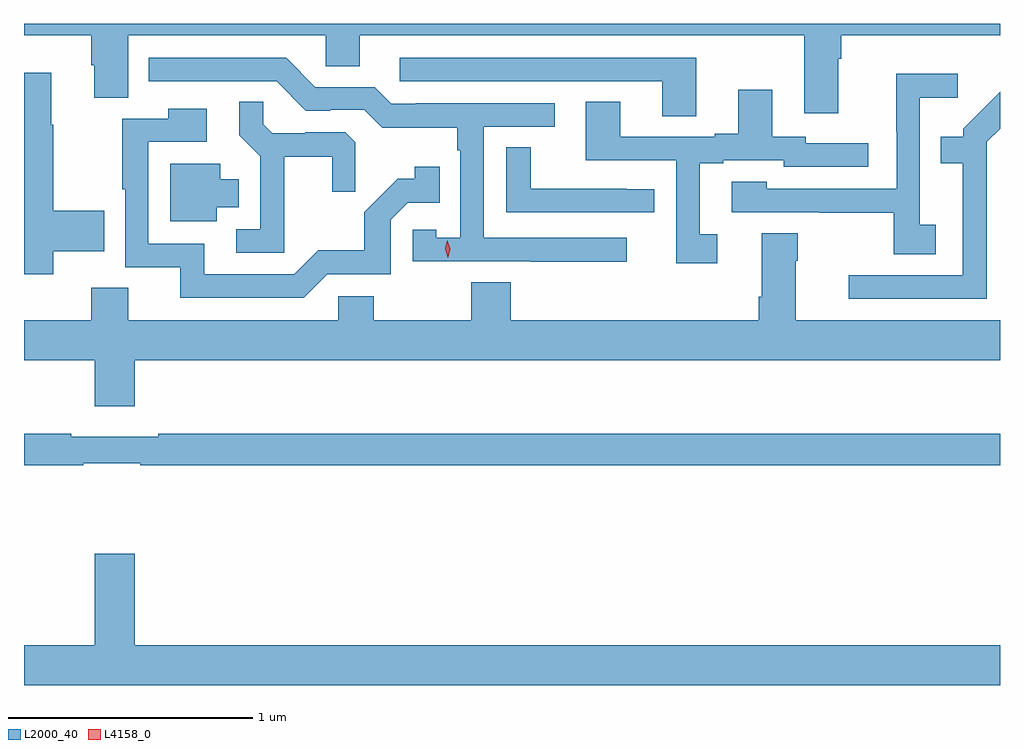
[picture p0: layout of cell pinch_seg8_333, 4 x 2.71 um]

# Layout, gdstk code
import gdstk
lib = gdstk.Library(unit=1e-6, precision=1e-09)
def P(c, l, *ps):  # polygons
    for p in ps: c.add(gdstk.Polygon(p, *l))
L2000_40 = (2000, 40)
L4158_0 = (4158, 0)

pinch_seg8_333 = lib.new_cell('pinch_seg8_333')
P(pinch_seg8_333, L2000_40, [(383.839,1164.356),(383.852,1164.356),(383.852,1164.452),(384.502,1164.452),(384.502,1164.5),(380.502,1164.5),(380.502,1164.452),(380.777,1164.452),(380.777,1164.33),(380.789,1164.33),(380.789,1164.196),(380.929,1164.196),(380.929,1164.452),(381.738,1164.452),(381.738,1164.325),(381.877,1164.325),(381.877,1164.452),(383.699,1164.452),(383.699,1164.132),(383.839,1164.132)],
  [(382.972,1163.622),(382.386,1163.622),(382.386,1164.078),(382.678,1164.078),(382.678,1164.174),(382.108,1164.174),(382.108,1164.171),(382.008,1164.171),(381.939,1164.24),(381.696,1164.24),(381.576,1164.36),(381.014,1164.36),(381.014,1164.264),(381.537,1164.264),(381.657,1164.144),(381.758,1164.144),(381.758,1164.147),(381.897,1164.147),(381.97,1164.074),(382.278,1164.074),(382.278,1163.981),(382.29,1163.981),(382.29,1163.623),(382.191,1163.623),(382.191,1163.655),(382.095,1163.655),(382.095,1163.526),(382.579,1163.526),(382.579,1163.524),(382.972,1163.524)],
  [(383.257,1164.36),(382.041,1164.36),(382.041,1164.264),(383.117,1164.264),(383.117,1164.121),(383.257,1164.121)],
  [(380.622,1163.567),(380.831,1163.567),(380.831,1163.733),(380.622,1163.733),(380.622,1164.085),(380.614,1164.085),(380.614,1164.298),(380.502,1164.298),(380.502,1163.472),(380.622,1163.472)],
  [(384.238,1163.676),(384.174,1163.676),(384.174,1164.197),(384.328,1164.197),(384.328,1164.295),(384.076,1164.295),(384.076,1164.056),(384.078,1164.056),(384.078,1163.823),(383.547,1163.823),(383.547,1163.851),(383.403,1163.851),(383.403,1163.727),(383.761,1163.727),(383.761,1163.725),(384.066,1163.725),(384.066,1163.554),(384.238,1163.554)],
  [(383.344,1163.637),(383.272,1163.637),(383.272,1163.928),(383.368,1163.928),(383.368,1163.94),(383.616,1163.94),(383.616,1163.913),(383.962,1163.913),(383.962,1164.009),(383.706,1164.009),(383.706,1164.036),(383.569,1164.036),(383.569,1164.229),(383.429,1164.229),(383.429,1164.049),(383.333,1164.049),(383.333,1164.036),(382.945,1164.036),(382.945,1164.179),(382.805,1164.179),(382.805,1163.94),(383.175,1163.94),(383.175,1163.517),(383.344,1163.517)],
  [(384.447,1164.015),(384.502,1164.07),(384.502,1164.22),(384.351,1164.069),(384.351,1164.037),(384.259,1164.037),(384.259,1163.928),(384.35,1163.928),(384.35,1163.469),(383.883,1163.469),(383.883,1163.373),(384.447,1163.373)],
  [(381.569,1163.954),(381.766,1163.954),(381.766,1163.811),(381.86,1163.811),(381.86,1164.013),(381.819,1164.054),(381.654,1164.054),(381.654,1164.051),(381.52,1164.051),(381.483,1164.088),(381.483,1164.179),(381.385,1164.179),(381.385,1164.043),(381.471,1163.957),(381.471,1163.658),(381.372,1163.658),(381.372,1163.562),(381.569,1163.562)],
  [(381.744,1163.472),(382.005,1163.472),(382.005,1163.697),(382.074,1163.766),(382.205,1163.766),(382.205,1163.914),(382.104,1163.914),(382.104,1163.864),(382.034,1163.864),(381.897,1163.726),(381.897,1163.571),(381.708,1163.571),(381.609,1163.472),(381.241,1163.472),(381.241,1163.598),(381.012,1163.598),(381.012,1164.015),(381.25,1164.015),(381.25,1164.151),(381.094,1164.151),(381.094,1164.111),(380.904,1164.111),(380.904,1163.821),(380.916,1163.821),(380.916,1163.502),(381.143,1163.502),(381.143,1163.376),(381.648,1163.376)],
  [(383.086,1163.822),(382.973,1163.822),(382.973,1163.823),(382.578,1163.823),(382.578,1163.993),(382.479,1163.993),(382.479,1163.727),(383.086,1163.727)],
  [(381.292,1163.747),(381.382,1163.747),(381.382,1163.863),(381.307,1163.863),(381.307,1163.926),(381.101,1163.926),(381.101,1163.69),(381.292,1163.69)],
  [(380.956,1163.12),(384.502,1163.12),(384.502,1163.284),(383.665,1163.284),(383.665,1163.528),(383.673,1163.528),(383.673,1163.641),(383.525,1163.641),(383.525,1163.38),(383.513,1163.38),(383.513,1163.284),(382.496,1163.284),(382.496,1163.441),(382.336,1163.441),(382.336,1163.284),(381.936,1163.284),(381.936,1163.382),(381.789,1163.382),(381.789,1163.284),(380.929,1163.284),(380.929,1163.417),(380.777,1163.417),(380.777,1163.284),(380.502,1163.284),(380.502,1163.12),(380.792,1163.12),(380.792,1162.932),(380.956,1162.932)],
  [(380.744,1162.698),(380.979,1162.698),(380.979,1162.69),(384.502,1162.69),(384.502,1162.819),(381.052,1162.819),(381.052,1162.806),(380.696,1162.806),(380.696,1162.819),(380.502,1162.819),(380.502,1162.69),(380.744,1162.69)],
  [(384.502,1161.952),(380.956,1161.952),(380.956,1162.327),(380.792,1162.327),(380.792,1161.952),(380.502,1161.952),(380.502,1161.788),(384.502,1161.788)])
P(pinch_seg8_333, L4158_0, [(382.239,1163.541),(382.239,1163.542),(382.228,1163.577),(382.236,1163.613),(382.237,1163.613),(382.237,1163.613),(382.248,1163.578),(382.24,1163.542)])

lib.write_gds('pinch_seg8_333.gds')
